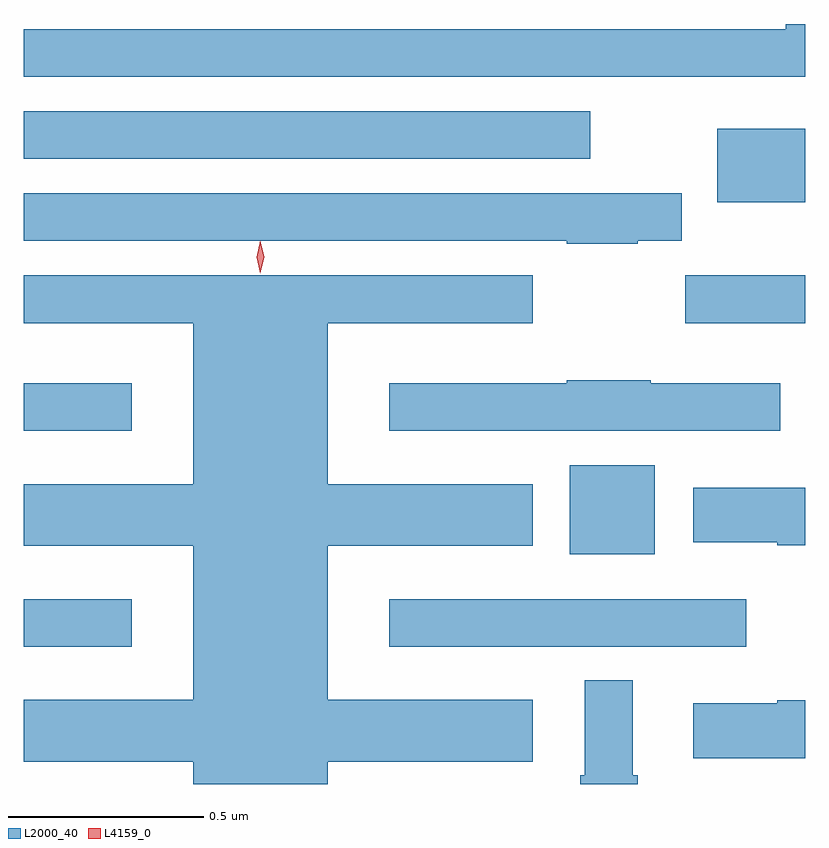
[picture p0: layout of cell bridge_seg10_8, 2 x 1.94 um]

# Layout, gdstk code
import gdstk
lib = gdstk.Library(unit=1e-6, precision=1e-09)
def R(c, l, rs):  # rectangles x0, y0, x1, y1
    for r in rs: c.add(gdstk.rectangle(r[:2], r[2:], *l))
def P(c, l, *ps):  # polygons
    for p in ps: c.add(gdstk.Polygon(p, *l))
L2000_40 = (2000, 40)
L4159_0 = (4159, 0)

bridge_seg10_8 = lib.new_cell('bridge_seg10_8')
R(bridge_seg10_8, L2000_40, [(1062.078,1327.124,1062.355,1327.246), (1063.014,1327.124,1063.927,1327.246), (1063.475,1327.361,1063.693,1327.588), (1062.078,1327.676,1062.355,1327.798), (1063.77,1327.952,1064.078,1328.074), (1063.853,1328.261,1064.078,1328.449), (1062.078,1328.372,1063.528,1328.494)])
P(bridge_seg10_8, L2000_40, [(1064.078,1328.717),(1064.027,1328.717),(1064.027,1328.704),(1062.078,1328.704),(1062.078,1328.582),(1064.078,1328.582)],
  [(1063.649,1328.162),(1063.762,1328.162),(1063.762,1328.284),(1062.078,1328.284),(1062.078,1328.162),(1063.468,1328.162),(1063.468,1328.155),(1063.649,1328.155)],
  [(1062.856,1326.83),(1063.381,1326.83),(1063.381,1326.988),(1062.856,1326.988),(1062.856,1327.382),(1063.381,1327.382),(1063.381,1327.54),(1062.856,1327.54),(1062.856,1327.952),(1063.381,1327.952),(1063.381,1328.074),(1062.078,1328.074),(1062.078,1327.952),(1062.512,1327.952),(1062.512,1327.54),(1062.078,1327.54),(1062.078,1327.382),(1062.512,1327.382),(1062.512,1326.988),(1062.078,1326.988),(1062.078,1326.83),(1062.512,1326.83),(1062.512,1326.773),(1062.856,1326.773)],
  [(1064.014,1327.798),(1063.682,1327.798),(1063.682,1327.806),(1063.468,1327.806),(1063.468,1327.798),(1063.014,1327.798),(1063.014,1327.676),(1064.014,1327.676)],
  [(1064.078,1327.531),(1063.791,1327.531),(1063.791,1327.391),(1064.006,1327.391),(1064.006,1327.384),(1064.078,1327.384)],
  [(1063.649,1326.796),(1063.636,1326.796),(1063.636,1327.039),(1063.514,1327.039),(1063.514,1326.796),(1063.502,1326.796),(1063.502,1326.773),(1063.649,1326.773)],
  [(1064.078,1326.987),(1064.006,1326.987),(1064.006,1326.979),(1063.791,1326.979),(1063.791,1326.839),(1064.078,1326.839)])
P(bridge_seg10_8, L4159_0, [(1062.684,1328.08),(1062.684,1328.08),(1062.674,1328.121),(1062.684,1328.162),(1062.684,1328.162),(1062.684,1328.162),(1062.694,1328.121),(1062.684,1328.08)])

lib.write_gds('bridge_seg10_8.gds')
